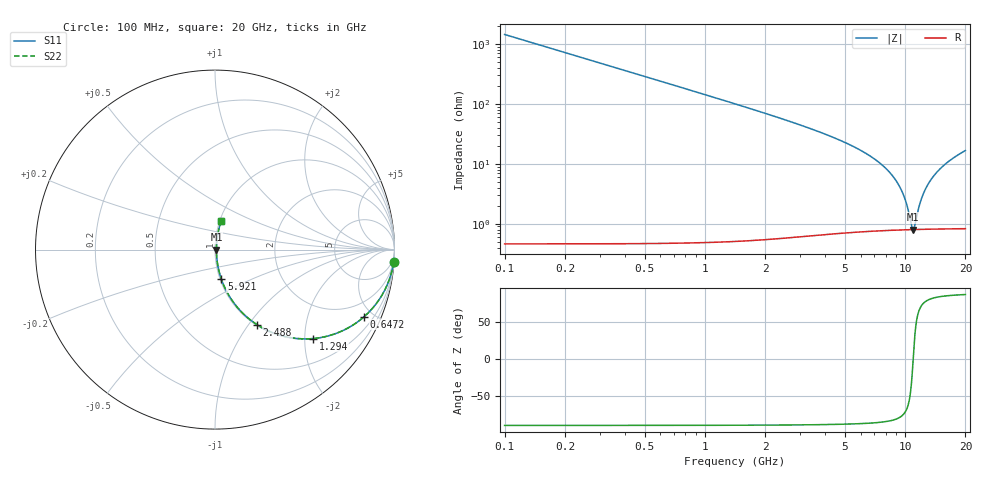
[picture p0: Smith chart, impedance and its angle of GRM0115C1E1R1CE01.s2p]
!Murata Part Number: GRM0115C1E1R1CE01
!These Parameters are Measured in Series Mode Connection
!Data Generated on Mar 30, 2021
!  o--ll--o
!Port1  Port2
!  o------o
!Operation Temp=25[degC], DC Bias Voltage=0[V]
!Freq. Start=100[MHz] Stop=20[GHz] 401[Steps]
# Hz S RI R 50
!Freq.(Hz) S11(Real) S11(Imag) S21(Real) S21(Imag) S12(Real) S12(Imag) S22(Real) S22(Imag)
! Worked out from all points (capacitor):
!   401 points, 100 MHz to 20 GHz, reference 50 ohm
!   read as one part in series: C = 1.1 pF near 199.5 MHz
!   lowest |Z| = 802 mohm at 11 GHz (marker M1)
!   series resonance near 10.97 GHz, so ESL is about 190 pH
!   S11 on the Smith chart (normalised r, x): 100 MHz: 1, -29; 647.2 MHz: 1.01, -4.45; 1.294 GHz: 1.01, -2.20; 2.488 GHz: 1.01, -1.10; 5.921 GHz: 1.01, -0.34; 20 GHz: 1.02, +0.33
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1e8  0.9952 -0.0688  0.00478 0.0688  0.00478 0.0688  0.9952 -0.0688
3.4875e8  0.9448 -0.2279  0.0552 0.2279  0.0552 0.2279  0.9448 -0.2279
6.4725e8  0.8317 -0.3731  0.1683 0.3731  0.1683 0.3731  0.8317 -0.3731
9.4575e8  0.6967 -0.4581  0.3033 0.4581  0.3033 0.4581  0.6967 -0.4581
1.294e9  0.548 -0.4954  0.452 0.4954  0.452 0.4954  0.548 -0.4954
1.84125e9  0.3685 -0.4789  0.6315 0.4789  0.6315 0.4789  0.3685 -0.4789
2.488e9  0.2347 -0.4186  0.7653 0.4186  0.7653 0.4186  0.2347 -0.4186
3.43325e9  0.1295 -0.3275  0.8705 0.3275  0.8705 0.3275  0.1295 -0.3275
5.92075e9  0.0354 -0.1648  0.9646 0.1648  0.9646 0.1648  0.0354 -0.1648
6.7665e9  0.0241 -0.1275  0.9759 0.1275  0.9759 0.1275  0.0241 -0.1275
8.80625e9  0.011 -0.0569  0.989 0.0569  0.989 0.0569  0.011 -0.0569
9.50275e9  0.00921 -0.0371  0.9908 0.0371  0.9908 0.0371  0.00921 -0.0371
1.005e10  0.00838 -0.0226  0.9916 0.0226  0.9916 0.0226  0.00838 -0.0226
1.079625e10  0.00794 -0.00415  0.9921 0.00415  0.9921 0.00415  0.00794 -0.00415
1.099525e10  0.00793 0.000551  0.9921 -0.000551  0.9921 -0.000551  0.00793 0.000551
1.169175e10  0.00825 0.0164  0.9918 -0.0164  0.9918 -0.0164  0.00825 0.0164
1.208975e10  0.00863 0.025  0.9914 -0.025  0.9914 -0.025  0.00863 0.025
1.268675e10  0.00944 0.0375  0.9906 -0.0375  0.9906 -0.0375  0.00944 0.0375
1.338325e10  0.0107 0.0513  0.9893 -0.0513  0.9893 -0.0513  0.0107 0.0513
1.4826e10  0.0143 0.0781  0.9857 -0.0781  0.9857 -0.0781  0.0143 0.0781
1.67165e10  0.0205 0.1102  0.9795 -0.1102  0.9795 -0.1102  0.0205 0.1102
2e10  0.0346 0.1595  0.9654 -0.1595  0.9654 -0.1595  0.0346 0.1595
